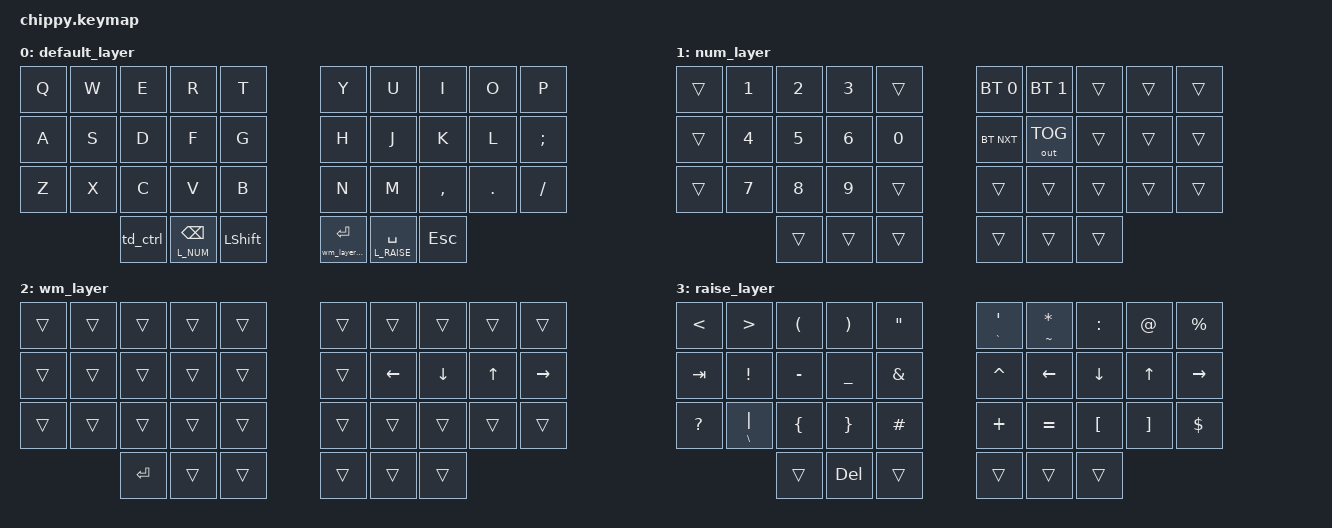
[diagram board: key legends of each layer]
/*
 * Copyright (c) 2020 The ZMK Contributors
 *
 * SPDX-License-Identifier: MIT
 */

#include <behaviors.dtsi>
#include <dt-bindings/zmk/keys.h>
#include <dt-bindings/zmk/bt.h>
#include <dt-bindings/zmk/outputs.h>
#include <dt-bindings/zmk/ext_power.h>

#define L_DEFAULT 0
#define L_NUM 1
#define L_WM 2
#define L_RAISE 3

    / {
    macros {
        wm_layer_lgui: wm_layer_lgui {
            label = "ZM_wm_layer_lgui";
            compatible = "zmk,behavior-macro";
            #binding-cells = <0>;
            wait-ms = <0>;
            bindings
            = <&macro_press &mo L_WM &kp LGUI>
            , <&macro_pause_for_release>
            , <&macro_release &mo L_WM &kp LGUI>;
        };
    };
    behaviors {
        td_ctrl: tap_dance_0 {
            compatible = "zmk,behavior-tap-dance";
            label = "TD_LCTRL";
            #binding-cells = <0>;
            tapping-term-ms = <200>;
            bindings = <&kp LCTRL>, <&kp LS(LCTRL)>;
        };  
        ht_to: kp_to_hold_tap {
            compatible = "zmk,behavior-hold-tap";
            label = "TOLAYER_HOLD_TAP";
            flavor = "hold-preferred";
            tapping-term-ms = <200>;
            quick-tap-ms = <125>;
            #binding-cells = <2>;
            bindings = <&to>, <&kp>;
            retro-tap;
        };
        ht_wmlgui: wm_lgui_macro_hold_tap {
            compatible = "zmk,behavior-hold-tap";
            label = "WM_LGUI_HOLD_TAP";
            flavor = "hold-preferred";
            tapping-term-ms = <200>;
            quick-tap-ms = <200>;
            #binding-cells = <2>;
            bindings = <&wm_layer_lgui>, <&kp>;
            retro-tap;
        };
        bspc_ht_mo: kp_mo_hold_tap {
            compatible = "zmk,behavior-hold-tap";
            label = "MOLAYER_HOLD_TAP";
            flavor = "hold-preferred";
            tapping-term-ms = <200>;
            quick-tap-ms = <200>;
            #binding-cells = <2>;
            bindings = <&mo>, <&kp>;
            retro-tap;
        };
    };

    keymap {
        compatible = "zmk,keymap";
		default_layer {
			bindings = <
    &kp Q &kp W &kp E &kp R &kp T                                                &kp Y &kp U  &kp I     &kp O   &kp P
    &kp A &kp S &kp D &kp F &kp G                                                &kp H &kp J  &kp K     &kp L   &kp SEMI
    &kp Z &kp X &kp C &kp V &kp B                                               &kp N &kp M  &kp COMMA &kp DOT &kp FSLH
	               	 &td_ctrl &bspc_ht_mo L_NUM BSPC &kp LSHFT        &ht_wmlgui 0 RET &bspc_ht_mo L_RAISE SPACE  &kp ESC
			>;
	    };

		num_layer {
			bindings = <
	  	    &trans &kp N1 &kp N2 &kp N3 &trans                                 &bt BT_SEL 0 &bt BT_SEL 1 &trans &trans &trans
	  	    &trans &kp N4 &kp N5 &kp N6 &kp N0                                 &bt BT_NXT &out OUT_TOG &trans &trans &trans
	  	    &trans &kp N7 &kp N8 &kp N9 &trans                                 &trans &trans &trans &trans &trans
	  	                        &trans &trans &trans     &trans &trans &trans
			>;
	  	};

		wm_layer {
			bindings = <
	  	    &trans &trans &trans &trans &trans                                 &trans &trans &trans &trans &trans
	  	    &trans &trans &trans &trans &trans                                 &trans &kp LEFT &kp DOWN &kp UP &kp RIGHT
	  	    &trans &trans &trans &trans &trans                                 &trans &trans &trans &trans &trans
	  	                        &kp RET &trans &trans                   &trans &trans &trans
			>;
	  	};

		raise_layer {
			bindings = <
         &kp LT  &kp GT  &kp LPAR  &kp RPAR  &kp DQT                                             &mt GRAVE SQT &mt TILDE STAR  &kp COLON  &kp AT  &kp PRCNT
         &kp TAB  &kp EXCL  &kp MINUS  &kp UNDER  &kp AMPS                                     &kp CARET  &kp LEFT  &kp DOWN &kp UP &kp RIGHT
         &kp QMARK  &mt BSLH PIPE  &kp LBRC  &kp RBRC  &kp HASH                               &kp PLUS  &kp EQUAL &kp LBKT &kp RBKT &kp DLLR
	                                   &trans  &kp DEL  &trans         &trans   &trans   &trans
			>;
	    };
    };
};
